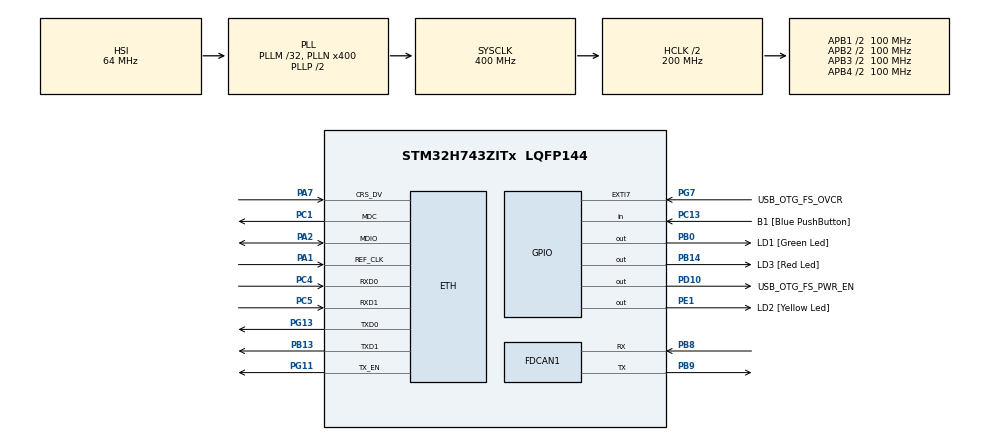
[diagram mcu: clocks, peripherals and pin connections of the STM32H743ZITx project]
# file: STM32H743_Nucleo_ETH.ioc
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CORTEX_M7.AccessPermission_S-Cortex_Memory_Protection_Unit_Region1_Settings_S=MPU_REGION_FULL_ACCESS
CORTEX_M7.AccessPermission_S-Cortex_Memory_Protection_Unit_Region2_Settings_S=MPU_REGION_FULL_ACCESS
CORTEX_M7.BaseAddress_S-Cortex_Memory_Protection_Unit_Region1_Settings_S=0x30020000
CORTEX_M7.BaseAddress_S-Cortex_Memory_Protection_Unit_Region2_Settings_S=0x30040000
CORTEX_M7.CPU_DCache=Enabled
CORTEX_M7.CPU_ICache=Enabled
CORTEX_M7.DisableExec_S-Cortex_Memory_Protection_Unit_Region1_Settings_S=MPU_INSTRUCTION_ACCESS_DISABLE
CORTEX_M7.DisableExec_S-Cortex_Memory_Protection_Unit_Region2_Settings_S=MPU_INSTRUCTION_ACCESS_DISABLE
CORTEX_M7.Enable_S-Cortex_Memory_Protection_Unit_Region1_Settings_S=MPU_REGION_ENABLE
CORTEX_M7.Enable_S-Cortex_Memory_Protection_Unit_Region2_Settings_S=MPU_REGION_ENABLE
CORTEX_M7.IsBufferable_S-Cortex_Memory_Protection_Unit_Region2_Settings_S=MPU_ACCESS_BUFFERABLE
CORTEX_M7.IsShareable_S-Cortex_Memory_Protection_Unit_Region2_Settings_S=MPU_ACCESS_SHAREABLE
CORTEX_M7.Size_S-Cortex_Memory_Protection_Unit_Region1_Settings_S=MPU_REGION_SIZE_128KB
CORTEX_M7.Size_S-Cortex_Memory_Protection_Unit_Region2_Settings_S=MPU_REGION_SIZE_512B
CORTEX_M7.TypeExtField_S-Cortex_Memory_Protection_Unit_Region1_Settings_S=MPU_TEX_LEVEL1
CORTEX_M7.default_mode_Activation=1
ETH.MediaInterface=HAL_ETH_RMII_MODE
ETH.RxBuffLen=1536
ETH.RxDescAddress=0x30040000
ETH.TxDescAddress=0x30040200
FDCAN1.FrameFormat=FDCAN_FRAME_CLASSIC
FDCAN1.NominalPrescaler=1
FDCAN1.NominalSyncJumpWidth=1
FDCAN1.NominalTimeSeg1=14
FDCAN1.NominalTimeSeg2=5
FDCAN1.RxBuffersNbr=2
FDCAN1.RxFifo0ElmtsNbr=16
FREERTOS.Tasks01=defaultTask,24,512,StartDefaultTask,Default,NULL,Dynamic,NULL,NULL
FREERTOS.configCHECK_FOR_STACK_OVERFLOW=1
FREERTOS.configMINIMAL_STACK_SIZE=512
FREERTOS.configTOTAL_HEAP_SIZE=30720
FREERTOS.configUSE_NEWLIB_REENTRANT=1
LWIP.BSP.number=1
LWIP.DEFAULT_THREAD_STACKSIZE=2048
LWIP.IP_ADDRESS=192.168.001.010
LWIP.LWIP_DHCP=0
LWIP.LWIP_RAM_HEAP_POINTER=0x30020000
LWIP.MEM_SIZE=131048
LWIP.NETMASK_ADDRESS=255.255.255.000
LWIP.PBUF_POOL_BUFSIZE=592
LWIP.TCPIP_THREAD_STACKSIZE=2048
LWIP.TCP_MSS=1460
LWIP.TCP_SND_BUF=5840
LWIP.TCP_SND_QUEUELEN=16
LWIP.Version=v2.1.2_Cube
LWIP0.BSP.STBoard=false
LWIP0.BSP.api=BSP_COMPONENT_DRIVER
LWIP0.BSP.component=LAN8742
LWIP0.BSP.instance=LAN8742
LWIP0.BSP.name=Driver_PHY
LWIP0.BSP.semaphore=S_LAN8742
LWIP0.BSP.solution=LAN8742
Mcu.Family=STM32H7
Mcu.Name=STM32H743ZITx
Mcu.Package=LQFP144
NVIC.ETH_IRQn=true\:5\:0\:false\:false\:true\:true\:true\:true\:true
NVIC.PriorityGroup=NVIC_PRIORITYGROUP_4
NVIC.TIM6_DAC_IRQn=true\:15\:0\:false\:false\:true\:false\:false\:true\:true
NVIC.TimeBase=TIM6_DAC_IRQn
NVIC.TimeBaseIP=TIM6
PA1.GPIO_Speed=GPIO_SPEED_FREQ_VERY_HIGH
PA1.Mode=RMII
PA1.Signal=ETH_REF_CLK
PA11.Signal=USB_OTG_FS_DM
PA12.Signal=USB_OTG_FS_DP
PA2.GPIO_Speed=GPIO_SPEED_FREQ_VERY_HIGH
PA2.Mode=RMII
PA2.Signal=ETH_MDIO
PA7.GPIO_Speed=GPIO_SPEED_FREQ_VERY_HIGH
PA7.Mode=RMII
PA7.Signal=ETH_CRS_DV
PA8.Signal=USB_OTG_FS_SOF
PA9.Signal=USB_OTG_FS_VBUS
PB0.GPIO_Label=LD1 [Green Led]
PB0.Signal=GPIO_Output
PB13.GPIO_Speed=GPIO_SPEED_FREQ_VERY_HIGH
PB13.Mode=RMII
PB13.Signal=ETH_TXD1
PB14.GPIO_Label=LD3 [Red Led]
PB14.Signal=GPIO_Output
PB8.Mode=FDCAN_Activate
PB8.Signal=FDCAN1_RX
PB9.Mode=FDCAN_Activate
PB9.Signal=FDCAN1_TX
PC1.GPIO_Speed=GPIO_SPEED_FREQ_VERY_HIGH
PC1.Mode=RMII
PC1.Signal=ETH_MDC
PC13.GPIO_Label=B1 [Blue PushButton]
PC13.Signal=GPIO_Input
PC14-OSC32_IN\ (OSC32_IN).Signal=RCC_OSC32_IN
PC15-OSC32_OUT\ (OSC32_OUT).Signal=RCC_OSC32_OUT
PC4.GPIO_Speed=GPIO_SPEED_FREQ_VERY_HIGH
PC4.Mode=RMII
PC4.Signal=ETH_RXD0
PC5.GPIO_Speed=GPIO_SPEED_FREQ_VERY_HIGH
PC5.Mode=RMII
PC5.Signal=ETH_RXD1
PD10.GPIO_Label=USB_OTG_FS_PWR_EN
PD10.Signal=GPIO_Output
PD8.GPIO_Label=STLINK_RX
PD8.Signal=USART3_TX
PD9.GPIO_Label=STLINK_TX
PD9.Signal=USART3_RX
PE1.GPIO_Label=LD2 [Yellow Led]
PE1.Signal=GPIO_Output
PG11.GPIO_Speed=GPIO_SPEED_FREQ_VERY_HIGH
PG11.Mode=RMII
PG11.Signal=ETH_TX_EN
PG13.GPIO_Speed=GPIO_SPEED_FREQ_VERY_HIGH
PG13.Mode=RMII
PG13.Signal=ETH_TXD0
PG7.GPIO_Label=USB_OTG_FS_OVCR
PG7.Signal=GPXTI7
PH0-OSC_IN\ (PH0).Signal=RCC_OSC_IN
PH1-OSC_OUT\ (PH1).Signal=RCC_OSC_OUT
ProjectManager.HeapSize=0x200
ProjectManager.StackSize=0x400
ProjectManager.TargetToolchain=STM32CubeIDE
RCC.ADCFreq_Value=100000000
RCC.APB1Freq_Value=100000000
RCC.APB2Freq_Value=100000000
RCC.APB3Freq_Value=100000000
RCC.APB4Freq_Value=100000000
RCC.CortexFreq_Value=400000000
RCC.D1PPRE=RCC_APB3_DIV2
RCC.D2PPRE1=RCC_APB1_DIV2
RCC.D2PPRE2=RCC_APB2_DIV2
RCC.D3PPRE=RCC_APB4_DIV2
RCC.DIVN1=400
RCC.DIVN2=100
RCC.DIVQ2=40
RCC.FDCANCLockSelection=RCC_FDCANCLKSOURCE_PLL2
RCC.HCLKFreq_Value=200000000
RCC.HPRE=RCC_HCLK_DIV2
RCC.SYSCLKFreq_VALUE=400000000
RCC.SYSCLKSource=RCC_SYSCLKSOURCE_PLLCLK
RCC.USBFreq_Value=400000000
VP_FREERTOS_VS_CMSIS_V2.Mode=CMSIS_V2
VP_LWIP_VS_Enabled.Mode=Enabled
VP_SYS_VS_tim6.Mode=TIM6
board=NUCLEO-H743ZI2

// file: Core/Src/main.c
/* USER CODE BEGIN Header */
/**
  ******************************************************************************
  * @file           : main.c
  * @brief          : Main program body
  ******************************************************************************
  * @attention
  *
  * Copyright (c) 2022 STMicroelectronics.
  * All rights reserved.
  *
  * This software is licensed under terms that can be found in the LICENSE file
  * in the root directory of this software component.
  * If no LICENSE file comes with this software, it is provided AS-IS.
  *
  ******************************************************************************
  */
/* USER CODE END Header */
#include "main.h"
#include "cmsis_os.h"
#include "lwip.h"

/* USER CODE BEGIN Includes */
/* ETH_CODE: add lwiperf, see comment in StartDefaultTask function */
#include "lwip/apps/lwiperf.h"
#include "lwip/opt.h"
#include "lwip/udp.h"
#include "lwip/ip.h"
#include "lwip/inet.h"
#include "lwip/sockets.h"
/* USER CODE END Includes */

FDCAN_HandleTypeDef hfdcan1;

/* Definitions for defaultTask */
osThreadId_t defaultTaskHandle;
const osThreadAttr_t defaultTask_attributes = {
  .name = "defaultTask",
  .stack_size = 512 * 4,
  .priority = (osPriority_t) osPriorityNormal,
};

void SystemClock_Config(void);
static void MPU_Config(void);
static void MX_GPIO_Init(void);
static void MX_FDCAN1_Init(void);
void StartDefaultTask(void *argument);

int main(void)
{

  /* MPU Configuration--------------------------------------------------------*/
  MPU_Config();

  /* Enable I-Cache---------------------------------------------------------*/
  SCB_EnableICache();

  /* Enable D-Cache---------------------------------------------------------*/
  SCB_EnableDCache();

  /* MCU Configuration--------------------------------------------------------*/

  /* Reset of all peripherals, Initializes the Flash interface and the Systick. */
  HAL_Init();

  /* Configure the system clock */
  SystemClock_Config();

  /* Initialize all configured peripherals */
  MX_GPIO_Init();
  MX_FDCAN1_Init();

  /* Init scheduler */
  osKernelInitialize();

  /* Create the thread(s) */
  /* creation of defaultTask */
  defaultTaskHandle = osThreadNew(StartDefaultTask, NULL, &defaultTask_attributes);

  /* Start scheduler */
  osKernelStart();

  /* We should never get here as control is now taken by the scheduler */
  /* Infinite loop */
  while (1)
  {

  }
}

void SystemClock_Config(void)
{
  RCC_OscInitTypeDef RCC_OscInitStruct = {0};
  RCC_ClkInitTypeDef RCC_ClkInitStruct = {0};

  /** Supply configuration update enable
  */
  HAL_PWREx_ConfigSupply(PWR_LDO_SUPPLY);

  /** Configure the main internal regulator output voltage
  */
  __HAL_PWR_VOLTAGESCALING_CONFIG(PWR_REGULATOR_VOLTAGE_SCALE1);

  while(!__HAL_PWR_GET_FLAG(PWR_FLAG_VOSRDY)) {}

  /** Macro to configure the PLL clock source
  */
  __HAL_RCC_PLL_PLLSOURCE_CONFIG(RCC_PLLSOURCE_HSI);

  /** Initializes the RCC Oscillators according to the specified parameters
  * in the RCC_OscInitTypeDef structure.
  */
  RCC_OscInitStruct.OscillatorType = RCC_OSCILLATORTYPE_HSI;
  RCC_OscInitStruct.HSIState = RCC_HSI_DIV1;
  RCC_OscInitStruct.HSICalibrationValue = RCC_HSICALIBRATION_DEFAULT;
  RCC_OscInitStruct.PLL.PLLState = RCC_PLL_ON;
  RCC_OscInitStruct.PLL.PLLSource = RCC_PLLSOURCE_HSI;
  RCC_OscInitStruct.PLL.PLLM = 32;
  RCC_OscInitStruct.PLL.PLLN = 400;
  RCC_OscInitStruct.PLL.PLLP = 2;
  RCC_OscInitStruct.PLL.PLLQ = 2;
  RCC_OscInitStruct.PLL.PLLR = 2;
  RCC_OscInitStruct.PLL.PLLRGE = RCC_PLL1VCIRANGE_1;
  RCC_OscInitStruct.PLL.PLLVCOSEL = RCC_PLL1VCOWIDE;
  RCC_OscInitStruct.PLL.PLLFRACN = 0;
  if (HAL_RCC_OscConfig(&RCC_OscInitStruct) != HAL_OK)
  {
    Error_Handler();
  }

  /** Initializes the CPU, AHB and APB buses clocks
  */
  RCC_ClkInitStruct.ClockType = RCC_CLOCKTYPE_HCLK|RCC_CLOCKTYPE_SYSCLK
                              |RCC_CLOCKTYPE_PCLK1|RCC_CLOCKTYPE_PCLK2
                              |RCC_CLOCKTYPE_D3PCLK1|RCC_CLOCKTYPE_D1PCLK1;
  RCC_ClkInitStruct.SYSCLKSource = RCC_SYSCLKSOURCE_PLLCLK;
  RCC_ClkInitStruct.SYSCLKDivider = RCC_SYSCLK_DIV1;
  RCC_ClkInitStruct.AHBCLKDivider = RCC_HCLK_DIV2;
  RCC_ClkInitStruct.APB3CLKDivider = RCC_APB3_DIV2;
  RCC_ClkInitStruct.APB1CLKDivider = RCC_APB1_DIV2;
  RCC_ClkInitStruct.APB2CLKDivider = RCC_APB2_DIV2;
  RCC_ClkInitStruct.APB4CLKDivider = RCC_APB4_DIV2;

  if (HAL_RCC_ClockConfig(&RCC_ClkInitStruct, FLASH_LATENCY_2) != HAL_OK)
  {
    Error_Handler();
  }
}

static void MX_FDCAN1_Init(void)
{

  /* USER CODE BEGIN FDCAN1_Init 0 */
  FDCAN_FilterTypeDef sFilterConfig;
  /* USER CODE END FDCAN1_Init 0 */

  hfdcan1.Instance = FDCAN1;
  hfdcan1.Init.FrameFormat = FDCAN_FRAME_CLASSIC;
  hfdcan1.Init.Mode = FDCAN_MODE_NORMAL;
  hfdcan1.Init.AutoRetransmission = DISABLE;
  hfdcan1.Init.TransmitPause = DISABLE;
  hfdcan1.Init.ProtocolException = DISABLE;
  hfdcan1.Init.NominalPrescaler = 1;
  hfdcan1.Init.NominalSyncJumpWidth = 1;
  hfdcan1.Init.NominalTimeSeg1 = 14;
  hfdcan1.Init.NominalTimeSeg2 = 5;
  hfdcan1.Init.DataPrescaler = 1;
  hfdcan1.Init.DataSyncJumpWidth = 1;
  hfdcan1.Init.DataTimeSeg1 = 1;
  hfdcan1.Init.DataTimeSeg2 = 1;
  hfdcan1.Init.MessageRAMOffset = 0;
  hfdcan1.Init.StdFiltersNbr = 0;
  hfdcan1.Init.ExtFiltersNbr = 0;
  hfdcan1.Init.RxFifo0ElmtsNbr = 16;
  hfdcan1.Init.RxFifo0ElmtSize = FDCAN_DATA_BYTES_8;
  hfdcan1.Init.RxFifo1ElmtsNbr = 0;
  hfdcan1.Init.RxFifo1ElmtSize = FDCAN_DATA_BYTES_8;
  hfdcan1.Init.RxBuffersNbr = 2;
  hfdcan1.Init.RxBufferSize = FDCAN_DATA_BYTES_8;
  hfdcan1.Init.TxEventsNbr = 0;
  hfdcan1.Init.TxBuffersNbr = 0;
  hfdcan1.Init.TxFifoQueueElmtsNbr = 0;
  hfdcan1.Init.TxFifoQueueMode = FDCAN_TX_FIFO_OPERATION;
  hfdcan1.Init.TxElmtSize = FDCAN_DATA_BYTES_8;
  if (HAL_FDCAN_Init(&hfdcan1) != HAL_OK)
  {
    Error_Handler();
  }
  /* USER CODE BEGIN FDCAN1_Init 2 */
  // Configure FDCAN Filter (for accepting all standard IDs into RX FIFO 0)
  sFilterConfig.IdType = FDCAN_STANDARD_ID;  // Standard ID (11-bit)
  sFilterConfig.FilterIndex = 0;  // First filter bank
  sFilterConfig.FilterType = FDCAN_FILTER_MASK;  // Mask-based filter
  sFilterConfig.FilterConfig = FDCAN_FILTER_TO_RXFIFO0;  // Store in RX FIFO 0
  sFilterConfig.FilterID1 = 0x000;  // Accept all IDs starting from 0x000
  sFilterConfig.FilterID2 = 0x000;  // Mask: Accept any ID

  // Apply the filter configuration
  if (HAL_FDCAN_ConfigFilter(&hfdcan1, &sFilterConfig) != HAL_OK) {
	  // Filter configuration error handling
	  Error_Handler();
  }

  // Start FDCAN
  if (HAL_FDCAN_Start(&hfdcan1) != HAL_OK) {
	  // Error starting FDCAN
	  Error_Handler();
  }
  /* USER CODE END FDCAN1_Init 2 */

}

static void MX_GPIO_Init(void)
{
  GPIO_InitTypeDef GPIO_InitStruct = {0};

  /* GPIO Ports Clock Enable */
  __HAL_RCC_GPIOC_CLK_ENABLE();
  __HAL_RCC_GPIOH_CLK_ENABLE();
  __HAL_RCC_GPIOA_CLK_ENABLE();
  __HAL_RCC_GPIOB_CLK_ENABLE();
  __HAL_RCC_GPIOD_CLK_ENABLE();
  __HAL_RCC_GPIOG_CLK_ENABLE();
  __HAL_RCC_GPIOE_CLK_ENABLE();

  /*Configure GPIO pin Output Level */
  HAL_GPIO_WritePin(GPIOB, LD1_Pin|LD3_Pin, GPIO_PIN_RESET);

  /*Configure GPIO pin Output Level */
  HAL_GPIO_WritePin(USB_OTG_FS_PWR_EN_GPIO_Port, USB_OTG_FS_PWR_EN_Pin, GPIO_PIN_RESET);

  /*Configure GPIO pin Output Level */
  HAL_GPIO_WritePin(LD2_GPIO_Port, LD2_Pin, GPIO_PIN_RESET);

  /*Configure GPIO pin : B1_Pin */
  GPIO_InitStruct.Pin = B1_Pin;
  GPIO_InitStruct.Mode = GPIO_MODE_INPUT;
  GPIO_InitStruct.Pull = GPIO_NOPULL;
  HAL_GPIO_Init(B1_GPIO_Port, &GPIO_InitStruct);

  /*Configure GPIO pins : LD1_Pin LD3_Pin */
  GPIO_InitStruct.Pin = LD1_Pin|LD3_Pin;
  GPIO_InitStruct.Mode = GPIO_MODE_OUTPUT_PP;
  GPIO_InitStruct.Pull = GPIO_NOPULL;
  GPIO_InitStruct.Speed = GPIO_SPEED_FREQ_LOW;
  HAL_GPIO_Init(GPIOB, &GPIO_InitStruct);

  /*Configure GPIO pins : STLINK_RX_Pin STLINK_TX_Pin */
  GPIO_InitStruct.Pin = STLINK_RX_Pin|STLINK_TX_Pin;
  GPIO_InitStruct.Mode = GPIO_MODE_AF_PP;
  GPIO_InitStruct.Pull = GPIO_NOPULL;
  GPIO_InitStruct.Speed = GPIO_SPEED_FREQ_LOW;
  GPIO_InitStruct.Alternate = GPIO_AF7_USART3;
  HAL_GPIO_Init(GPIOD, &GPIO_InitStruct);

  /*Configure GPIO pin : USB_OTG_FS_PWR_EN_Pin */
  GPIO_InitStruct.Pin = USB_OTG_FS_PWR_EN_Pin;
  GPIO_InitStruct.Mode = GPIO_MODE_OUTPUT_PP;
  GPIO_InitStruct.Pull = GPIO_NOPULL;
  GPIO_InitStruct.Speed = GPIO_SPEED_FREQ_LOW;
  HAL_GPIO_Init(USB_OTG_FS_PWR_EN_GPIO_Port, &GPIO_InitStruct);

  /*Configure GPIO pin : USB_OTG_FS_OVCR_Pin */
  GPIO_InitStruct.Pin = USB_OTG_FS_OVCR_Pin;
  GPIO_InitStruct.Mode = GPIO_MODE_IT_RISING;
  GPIO_InitStruct.Pull = GPIO_NOPULL;
  HAL_GPIO_Init(USB_OTG_FS_OVCR_GPIO_Port, &GPIO_InitStruct);

  /*Configure GPIO pins : PA8 PA11 PA12 */
  GPIO_InitStruct.Pin = GPIO_PIN_8|GPIO_PIN_11|GPIO_PIN_12;
  GPIO_InitStruct.Mode = GPIO_MODE_AF_PP;
  GPIO_InitStruct.Pull = GPIO_NOPULL;
  GPIO_InitStruct.Speed = GPIO_SPEED_FREQ_LOW;
  GPIO_InitStruct.Alternate = GPIO_AF10_OTG1_FS;
  HAL_GPIO_Init(GPIOA, &GPIO_InitStruct);

  /*Configure GPIO pin : LD2_Pin */
  GPIO_InitStruct.Pin = LD2_Pin;
  GPIO_InitStruct.Mode = GPIO_MODE_OUTPUT_PP;
  GPIO_InitStruct.Pull = GPIO_NOPULL;
  GPIO_InitStruct.Speed = GPIO_SPEED_FREQ_LOW;
  HAL_GPIO_Init(LD2_GPIO_Port, &GPIO_InitStruct);

}

void StartDefaultTask(void *argument)
{
  /* init code for LWIP */
  MX_LWIP_Init();
  /* USER CODE BEGIN 5 */
  struct sockaddr_in destAddr;
  int udpSocket;
  int length;
  FDCAN_RxHeaderTypeDef rxHeader;
  uint8_t canData[8];  // We are using classic CAN
  char udpMessage[150]; // Buffer to format CAN message

  // Create UDP socket
  udpSocket = socket(AF_INET, SOCK_DGRAM, IPPROTO_UDP);
  if (udpSocket < 0) {
	  printf("Failed to create socket!\n");
	  return;
  }

  // Configure destination address (replace with your target IP and port)
  destAddr.sin_family = AF_INET;
  destAddr.sin_port = htons(12345);  // Destination port
  destAddr.sin_addr.s_addr = inet_addr("192.168.1.1");  // Destination IP address

  while(1) {

	  // Check if there's a CAN message in the FIFO
	  if (HAL_FDCAN_GetRxFifoFillLevel(&hfdcan1, FDCAN_RX_FIFO0) > 0) {
		  // Receive the CAN FD message
		  if (HAL_FDCAN_GetRxMessage(&hfdcan1, FDCAN_RX_FIFO0, &rxHeader, canData) == HAL_OK) {

			  //TODO
			  //Check FD or not, and Ext Id
			  //Limit copy length
			  udpMessage[0] = rxHeader.Identifier >> 8 & 0xFF;
			  udpMessage[1] = rxHeader.Identifier & 0xFF;
			  udpMessage[2] = (rxHeader.DataLength & 0xF0000) >> 16;  // DLC is in bits [19:16]
			  memcpy(&udpMessage[3], canData, udpMessage[2]);

			  length = 3 + udpMessage[2];

			  // Send the formatted message via UDP
			  sendto(udpSocket, udpMessage, length, 0, (struct sockaddr *)&destAddr, sizeof(destAddr));
		  }
	  }
  }
  // Close the socket if the task ends (unlikely to reach)
  closesocket(udpSocket);
  /* USER CODE END 5 */
}

/* MPU Configuration */

void MPU_Config(void)
{
  MPU_Region_InitTypeDef MPU_InitStruct = {0};

  /* Disables the MPU */
  HAL_MPU_Disable();

  /** Initializes and configures the Region and the memory to be protected
  */
  MPU_InitStruct.Enable = MPU_REGION_ENABLE;
  MPU_InitStruct.Number = MPU_REGION_NUMBER0;
  MPU_InitStruct.BaseAddress = 0x0;
  MPU_InitStruct.Size = MPU_REGION_SIZE_4GB;
  MPU_InitStruct.SubRegionDisable = 0x87;
  MPU_InitStruct.TypeExtField = MPU_TEX_LEVEL0;
  MPU_InitStruct.AccessPermission = MPU_REGION_NO_ACCESS;
  MPU_InitStruct.DisableExec = MPU_INSTRUCTION_ACCESS_DISABLE;
  MPU_InitStruct.IsShareable = MPU_ACCESS_SHAREABLE;
  MPU_InitStruct.IsCacheable = MPU_ACCESS_NOT_CACHEABLE;
  MPU_InitStruct.IsBufferable = MPU_ACCESS_NOT_BUFFERABLE;

  HAL_MPU_ConfigRegion(&MPU_InitStruct);

  /** Initializes and configures the Region and the memory to be protected
  */
  MPU_InitStruct.Number = MPU_REGION_NUMBER1;
  MPU_InitStruct.BaseAddress = 0x30020000;
  MPU_InitStruct.Size = MPU_REGION_SIZE_128KB;
  MPU_InitStruct.SubRegionDisable = 0x0;
  MPU_InitStruct.TypeExtField = MPU_TEX_LEVEL1;
  MPU_InitStruct.AccessPermission = MPU_REGION_FULL_ACCESS;
  MPU_InitStruct.IsShareable = MPU_ACCESS_NOT_SHAREABLE;

  HAL_MPU_ConfigRegion(&MPU_InitStruct);

  /** Initializes and configures the Region and the memory to be protected
  */
  MPU_InitStruct.Number = MPU_REGION_NUMBER2;
  MPU_InitStruct.BaseAddress = 0x30040000;
  MPU_InitStruct.Size = MPU_REGION_SIZE_512B;
  MPU_InitStruct.TypeExtField = MPU_TEX_LEVEL0;
  MPU_InitStruct.IsShareable = MPU_ACCESS_SHAREABLE;
  MPU_InitStruct.IsBufferable = MPU_ACCESS_BUFFERABLE;

  HAL_MPU_ConfigRegion(&MPU_InitStruct);
  /* Enables the MPU */
  HAL_MPU_Enable(MPU_PRIVILEGED_DEFAULT);

}

void HAL_TIM_PeriodElapsedCallback(TIM_HandleTypeDef *htim)
{
  if (htim->Instance == TIM6) {
    HAL_IncTick();
  }
}

void Error_Handler(void)
{
  __disable_irq();
  while (1)
  {
  }
}
